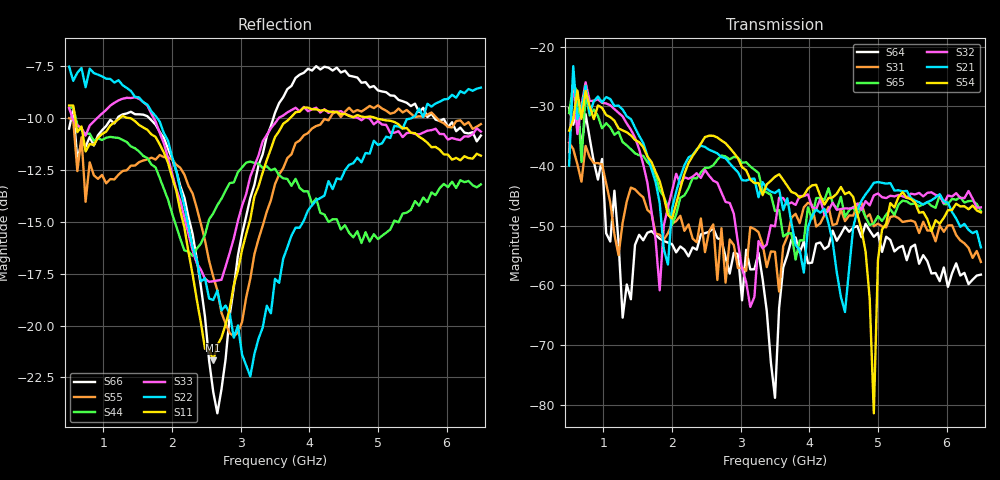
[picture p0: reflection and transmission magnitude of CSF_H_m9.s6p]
!Keysight Technologies,M9804A,MY58100912,A.14.10.03
!Date: Thursday, April 27, 2023 10:28:33
!Correction: S11(C  6-Port  )
!S12(C  6-Port  )
!S13(C  6-Port  )
!S14(C  6-Port  )
!S15(C  6-Port  )
!S16(C  6-Port  )
!S21(C  6-Port  )
!S22(C  6-Port  )
!S23(C  6-Port  )
!S24(C  6-Port  )
!S25(C  6-Port  )
!S26(C  6-Port  )
!S31(C  6-Port  )
!S32(C  6-Port  )
!S33(C  6-Port  )
!S34(C  6-Port  )
!S35(C  6-Port  )
!S36(C  6-Port  )
!S41(C  6-Port  )
!S42(C  6-Port  )
!S43(C  6-Port  )
!S44(C  6-Port  )
!S45(C  6-Port  )
!S46(C  6-Port  )
!S51(C  6-Port  )
!S52(C  6-Port  )
!S53(C  6-Port  )
!S54(C  6-Port  )
!S55(C  6-Port  )
!S56(C  6-Port  )
!S61(C  6-Port  )
!S62(C  6-Port  )
!S63(C  6-Port  )
!S64(C  6-Port  )
!S65(C  6-Port  )
!S66(C  6-Port  )
!S6P File: Measurement: :
# Hz S  RI  R 50
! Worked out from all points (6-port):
!   101 points, 500 MHz to 6.5 GHz, reference 50 ohm
!   strongest paths, dB at 500 MHz, 2 GHz, 3.5 GHz, 5 GHz, 6.5 GHz:
!     S54: -34.1, -48.8, -41.8, -55.8, -47.8
!     S21: -39.9, -47.2, -44.5, -42.7, -53.7
!     S32: -37.7, -44.2, -50.1, -44.6, -46.9
!     S65: -31.1, -49.8, -47.6, -48.4, -47.6
!     S31: -36.1, -49.7, -54.4, -49.7, -56.1
!     S64: -30.3, -53.1, -78.9, -51.2, -58.2
!   lowest |S11| = -21.7 dB at 2.6 GHz (marker M1), VSWR 1.18, Z = 42.6 + j2 ohm
!   |S11| at or under -10 dB: 588.4 MHz to 1.239 GHz (650.4 MHz wide, 71.2 % of centre); 1.393 GHz to 3.719 GHz (2.326 GHz wide, 91 % of centre); 4.972 GHz to end of sweep
